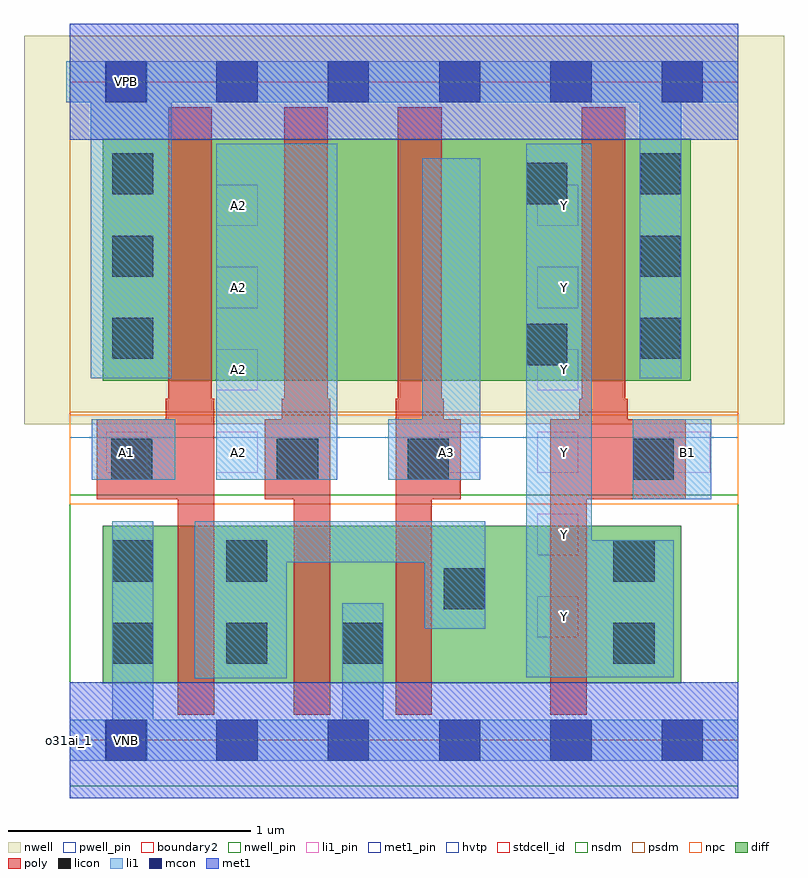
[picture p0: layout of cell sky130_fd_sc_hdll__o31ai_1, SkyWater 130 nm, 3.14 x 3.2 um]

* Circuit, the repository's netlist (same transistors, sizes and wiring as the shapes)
* Copyright 2020 The SkyWater PDK Authors
*
* Licensed under the Apache License, Version 2.0 (the "License");
* you may not use this file except in compliance with the License.
* You may obtain a copy of the License at
*
*     https://www.apache.org/licenses/LICENSE-2.0
*
* Unless required by applicable law or agreed to in writing, software
* distributed under the License is distributed on an "AS IS" BASIS,
* WITHOUT WARRANTIES OR CONDITIONS OF ANY KIND, either express or implied.
* See the License for the specific language governing permissions and
* limitations under the License.
*
* SPDX-License-Identifier: Apache-2.0

.SUBCKT sky130_fd_sc_hdll__o31ai_1 A1 A2 A3 B1 VGND VNB VPB VPWR Y
*.PININFO A1:I A2:I A3:I B1:I VGND:I VNB:I VPB:I VPWR:I Y:O
MMPA0 VPWR A1 sndA1 VPB sky130_fd_pr__pfet_01v8_hvt m=1 w=1.0U l=0.18U mult=1 sa=0.265
+ sb=0.265 sd=0.28 area=0.063 perim=1.14
MMPA1 sndA1 A2 sndA2 VPB sky130_fd_pr__pfet_01v8_hvt m=1 w=1.0U l=0.18U mult=1
+ sa=0.265 sb=0.265 sd=0.28 area=0.063 perim=1.14
MMPA2 sndA2 A3 Y VPB sky130_fd_pr__pfet_01v8_hvt m=1 w=1.0U l=0.18U mult=1 sa=0.265
+ sb=0.265 sd=0.28 area=0.063 perim=1.14
MMPB0 VPWR B1 Y VPB sky130_fd_pr__pfet_01v8_hvt m=1 w=1.0U l=0.18U mult=1 sa=0.265
+ sb=0.265 sd=0.28 area=0.063 perim=1.14
MMNA0 pndA A1 VGND VNB sky130_fd_pr__nfet_01v8 m=1 w=0.65U l=0.15U mult=1 sa=0.265
+ sb=0.265 sd=0.28 area=0.063 perim=1.14
MMNA1 pndA A2 VGND VNB sky130_fd_pr__nfet_01v8 m=1 w=0.65U l=0.15U mult=1 sa=0.265
+ sb=0.265 sd=0.28 area=0.063 perim=1.14
MMNA2 pndA A3 VGND VNB sky130_fd_pr__nfet_01v8 m=1 w=0.65U l=0.15U mult=1 sa=0.265
+ sb=0.265 sd=0.28 area=0.063 perim=1.14
MMNB0 Y B1 pndA VNB sky130_fd_pr__nfet_01v8 m=1 w=0.65U l=0.15U mult=1 sa=0.265
+ sb=0.265 sd=0.28 area=0.063 perim=1.14
.ENDS sky130_fd_sc_hdll__o31ai_1

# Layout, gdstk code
import gdstk
lib = gdstk.Library(unit=1e-6, precision=1e-09)
def R(c, l, rs):  # rectangles x0, y0, x1, y1
    for r in rs: c.add(gdstk.rectangle(r[:2], r[2:], *l))
def A(c, l, x, y, w, h, nx, ny, dx, dy):  # array of equal rectangles
    R(c, l, [(x+i*dx, y+j*dy, x+i*dx+w, y+j*dy+h) for i in range(nx) for j in range(ny)])
def P(c, l, *ps):  # polygons
    for p in ps: c.add(gdstk.Polygon(p, *l))
nwell_pin = (64, 16)
nwell = (64, 20)
diff = (65, 20)
poly = (66, 20)
licon = (66, 44)
li1_pin = (67, 16)
li1 = (67, 20)
mcon = (67, 44)
met1_pin = (68, 16)
met1 = (68, 20)
hvtp = (78, 44)
stdcell_id = (81, 4)
nsdm = (93, 44)
psdm = (94, 20)
npc = (95, 20)
pwell_pin = (122, 16)
boundary2 = (236, 0)

sky130_fd_sc_hdll__o31ai = lib.new_cell('sky130_fd_sc_hdll__o31ai_1')
R(sky130_fd_sc_hdll__o31ai, nwell_pin, [(0.15,2.635,0.32,2.805)])
R(sky130_fd_sc_hdll__o31ai, nwell, [(-0.19,1.305,2.95,2.91)])
R(sky130_fd_sc_hdll__o31ai, diff, [(0.135,0.235,2.525,0.885), (0.135,1.485,2.565,2.485)])
P(sky130_fd_sc_hdll__o31ai, poly, [(0.595,1.41),(0.585,1.41),(0.585,2.615),(0.405,2.615),(0.405,1.41),(0.395,1.41),(0.395,1.325),(0.11,1.325),(0.11,0.995),(0.445,0.995),(0.445,0.105),(0.595,0.105)],
  [(1.075,1.41),(1.065,1.41),(1.065,2.615),(0.885,2.615),(0.885,1.41),(0.875,1.41),(0.875,1.325),(0.805,1.325),(0.805,0.995),(0.925,0.995),(0.925,0.105),(1.075,0.105)],
  [(1.615,1.325),(1.545,1.325),(1.545,1.41),(1.535,1.41),(1.535,2.615),(1.355,2.615),(1.355,1.41),(1.345,1.41),(1.345,0.105),(1.495,0.105),(1.495,0.995),(1.615,0.995)],
  [(2.545,1.325),(2.305,1.325),(2.305,1.41),(2.295,1.41),(2.295,2.615),(2.115,2.615),(2.115,1.41),(2.105,1.41),(2.105,1.325),(1.985,1.325),(1.985,0.105),(2.135,0.105),(2.135,0.995),(2.545,0.995)])
A(sky130_fd_sc_hdll__o31ai, licon, 0.175, 1.575, 0.17, 0.17, 1, 3, 0, 0.34)
A(sky130_fd_sc_hdll__o31ai, licon, 2.355, 1.575, 0.17, 0.17, 1, 3, 0, 0.34)
R(sky130_fd_sc_hdll__o31ai, licon, [(0.175,0.315,0.345,0.485), (0.645,0.315,0.815,0.485), (1.125,0.315,1.295,0.485), (2.245,0.315,2.415,0.485), (1.545,0.54,1.715,0.71), (0.175,0.655,0.345,0.825), (0.645,0.655,0.815,0.825), (2.245,0.655,2.415,0.825), (0.17,1.075,0.34,1.245), (0.855,1.075,1.025,1.245), (1.395,1.075,1.565,1.245), (2.325,1.075,2.495,1.245), (1.885,1.55,2.055,1.72), (1.885,2.215,2.055,2.385)])
A(sky130_fd_sc_hdll__o31ai, li1_pin, 1.93, 0.425, 0.17, 0.17, 1, 6, 0, 0.34)
A(sky130_fd_sc_hdll__o31ai, li1_pin, 0.605, 1.105, 0.17, 0.17, 1, 4, 0, 0.34)
R(sky130_fd_sc_hdll__o31ai, li1_pin, [(0.15,1.105,0.32,1.275), (1.525,1.105,1.695,1.275), (2.475,1.105,2.645,1.275)])
R(sky130_fd_sc_hdll__o31ai, li1, [(2.325,0.995,2.65,1.325), (0.09,1.075,0.435,1.325), (0.605,1.075,1.105,2.465)])
P(sky130_fd_sc_hdll__o31ai, li1, [(2.76,0.085),(1.295,0.085),(1.295,0.565),(1.125,0.565),(1.125,0.085),(0.345,0.085),(0.345,0.905),(0.175,0.905),(0.175,0.085),(0,0.085),(0,-0.085),(2.76,-0.085)],
  [(1.315,1.075),(1.315,1.325),(1.455,1.325),(1.455,2.405),(1.695,2.405),(1.695,1.075)],
  [(1.715,0.905),(0.515,0.905),(0.515,0.255),(0.895,0.255),(0.895,0.735),(1.465,0.735),(1.465,0.46),(1.715,0.46)],
  [(2.495,0.825),(2.155,0.825),(2.155,2.465),(1.885,2.465),(1.885,0.26),(2.495,0.26)],
  [(2.76,2.805),(-0.015,2.805),(-0.015,2.635),(0.085,2.635),(0.085,1.495),(0.42,1.495),(0.42,2.635),(2.355,2.635),(2.355,1.495),(2.525,1.495),(2.525,2.635),(2.76,2.635)])
A(sky130_fd_sc_hdll__o31ai, mcon, 0.145, -0.085, 0.17, 0.17, 6, 2, 0.46, 2.72)
R(sky130_fd_sc_hdll__o31ai, met1_pin, [(0.15,-0.085,0.32,0.085), (0.15,2.635,0.32,2.805)])
R(sky130_fd_sc_hdll__o31ai, met1, [(0,-0.24,2.76,0.24), (0,2.48,2.76,2.96)])
R(sky130_fd_sc_hdll__o31ai, hvtp, [(0,1.25,2.76,2.72)])
R(sky130_fd_sc_hdll__o31ai, stdcell_id, [(0,0,2.76,2.72)])
R(sky130_fd_sc_hdll__o31ai, nsdm, [(0,-0.19,2.76,1.015)])
R(sky130_fd_sc_hdll__o31ai, psdm, [(0,1.355,2.76,2.91)])
R(sky130_fd_sc_hdll__o31ai, npc, [(0,0.975,2.76,1.345)])
R(sky130_fd_sc_hdll__o31ai, pwell_pin, [(0.15,-0.085,0.32,0.085)])
R(sky130_fd_sc_hdll__o31ai, boundary2, [(0,0,2.76,2.72)])
sky130_fd_sc_hdll__o31ai.add(gdstk.Label('Y', (2.045,0.51), layer=67, texttype=5))
sky130_fd_sc_hdll__o31ai.add(gdstk.Label('A2', (0.695,1.53), layer=67, texttype=5))
sky130_fd_sc_hdll__o31ai.add(gdstk.Label('Y', (2.045,0.85), layer=67, texttype=5))
sky130_fd_sc_hdll__o31ai.add(gdstk.Label('A1', (0.235,1.19), layer=67, texttype=5))
sky130_fd_sc_hdll__o31ai.add(gdstk.Label('A2', (0.695,1.19), layer=67, texttype=5))
sky130_fd_sc_hdll__o31ai.add(gdstk.Label('A3', (1.555,1.19), layer=67, texttype=5))
sky130_fd_sc_hdll__o31ai.add(gdstk.Label('B1', (2.55,1.19), layer=67, texttype=5))
sky130_fd_sc_hdll__o31ai.add(gdstk.Label('A2', (0.695,2.21), layer=67, texttype=5))
sky130_fd_sc_hdll__o31ai.add(gdstk.Label('A2', (0.695,1.87), layer=67, texttype=5))
sky130_fd_sc_hdll__o31ai.add(gdstk.Label('Y', (2.045,1.19), layer=67, texttype=5))
sky130_fd_sc_hdll__o31ai.add(gdstk.Label('Y', (2.045,1.53), layer=67, texttype=5))
sky130_fd_sc_hdll__o31ai.add(gdstk.Label('Y', (2.045,1.87), layer=67, texttype=5))
sky130_fd_sc_hdll__o31ai.add(gdstk.Label('Y', (2.045,2.21), layer=67, texttype=5))
sky130_fd_sc_hdll__o31ai.add(gdstk.Label('VPB', (0.235,2.72), layer=64, texttype=5))
sky130_fd_sc_hdll__o31ai.add(gdstk.Label('VNB', (0.235,0), layer=64, texttype=59))
sky130_fd_sc_hdll__o31ai.add(gdstk.Label('VPWR', (0.235,2.72), layer=68, texttype=5))
sky130_fd_sc_hdll__o31ai.add(gdstk.Label('VGND', (0.235,0), layer=68, texttype=5))
sky130_fd_sc_hdll__o31ai.add(gdstk.Label('o31ai_1', (0,0), layer=83, texttype=44))

lib.write_gds('sky130_fd_sc_hdll__o31ai_1.gds')
